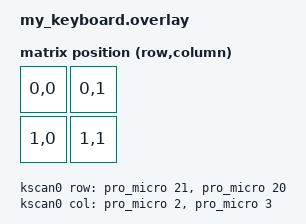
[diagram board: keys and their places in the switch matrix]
#include <dt-bindings/zmk/matrix_transform.h>

/ {
    chosen {
        zmk,kscan = &kscan0;
        zmk,matrix_transform = &default_transform;
        zephyr,display = &memory_lcd;
    };

    default_transform: keymap_transform_0 {
        compatible = "zmk,matrix-transform";
        columns = <2>;
        rows = <2>;
        map = <
            RC(0,0) RC(0,1)
            RC(1,0) RC(1,1)
        >;
    };

    kscan0: kscan {
        compatible = "zmk,kscan-gpio-matrix";

        diode-direction = "col2row";
        row-gpios = <&pro_micro 21 (GPIO_ACTIVE_HIGH | GPIO_PULL_DOWN)>,
                   <&pro_micro 20 (GPIO_ACTIVE_HIGH | GPIO_PULL_DOWN)>;
        col-gpios = <&pro_micro 2 GPIO_ACTIVE_HIGH>,
                   <&pro_micro 3 GPIO_ACTIVE_HIGH>;
    };
};

&pro_micro_spi {
    status = "okay";
    cs-gpios = <&pro_micro 8 GPIO_ACTIVE_LOW>;

    // Sharp Memory LCD on SPI (LS013B7DH03)
    memory_lcd: memory_lcd@0 {
        compatible = "sharp,ls0xx";
        reg = <0>;
        spi-max-frequency = <2000000>;
        extcomin-gpios = <&pro_micro 10 GPIO_ACTIVE_HIGH>;
        extcomin-frequency = <1>;
        width = <128>;
        height = <128>;
        status = "okay";
    };
};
